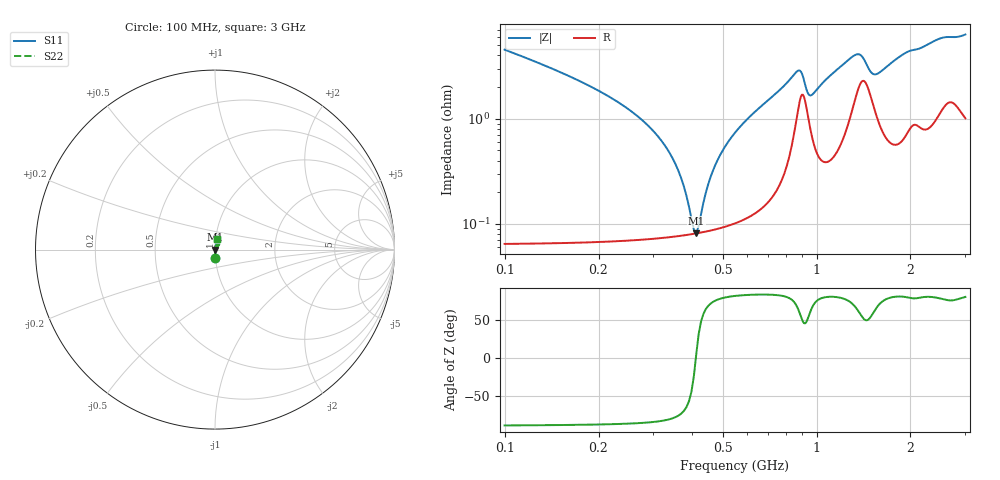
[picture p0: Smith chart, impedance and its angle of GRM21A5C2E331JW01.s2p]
!Murata Part Number: GRM21A5C2E331JW01
!These Parameters are Measured in Series Mode Connection
!Data Generated on Mar 30, 2021
!  o--ll--o
!Port1  Port2
!  o------o
!Operation Temp=25[degC], DC Bias Voltage=0[V]
!Freq. Start=100[MHz] Stop=3[GHz] 401[Steps]
# Hz S RI R 50
!Freq.(Hz) S11(Real) S11(Imag) S21(Real) S21(Imag) S12(Real) S12(Imag) S22(Real) S22(Imag)
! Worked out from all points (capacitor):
!   401 points, 100 MHz to 3 GHz, reference 50 ohm
!   read as one part in series: C = 329 pF near 114.5 MHz
!   lowest |Z| = 81.5 mohm at 411.8 MHz (marker M1)
!   series resonance near 410.3 MHz, so ESL is about 460 pH
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1e8  0.0027 -0.0453  0.9973 0.0453  0.9973 0.0453  0.0027 -0.0453
2.595e8  0.000824 -0.0112  0.9992 0.0112  0.9992 0.0112  0.000824 -0.0112
3.175e8  0.00077 -0.00618  0.9992 0.00618  0.9992 0.00618  0.00077 -0.00618
3.5375e8  0.000771 -0.00356  0.9992 0.00356  0.9992 0.00356  0.000771 -0.00356
3.755e8  0.00078 -0.00213  0.9992 0.00213  0.9992 0.00213  0.00078 -0.00213
3.9725e8  0.000796 -0.000779  0.9992 0.000779  0.9992 0.000779  0.000796 -0.000779
4.1175e8  0.00081 8.49e-05  0.9992 -8.49e-05  0.9992 -8.49e-05  0.00081 8.49e-05
4.2625e8  0.000826 0.000923  0.9992 -0.000923  0.9992 -0.000923  0.000826 0.000923
4.5525e8  0.000866 0.00253  0.9991 -0.00253  0.9991 -0.00253  0.000866 0.00253
4.8425e8  0.000915 0.00407  0.9991 -0.00407  0.9991 -0.00407  0.000915 0.00407
5.2775e8  0.00101 0.00629  0.999 -0.00629  0.999 -0.00629  0.00101 0.00629
5.8575e8  0.00118 0.00915  0.9988 -0.00915  0.9988 -0.00915  0.00118 0.00915
8.685e8  0.0118 0.0256  0.9882 -0.0256  0.9882 -0.0256  0.0118 0.0256
8.9025e8  0.0164 0.0224  0.9836 -0.0224  0.9836 -0.0224  0.0164 0.0224
9.3375e8  0.0116 0.0136  0.9884 -0.0136  0.9884 -0.0136  0.0116 0.0136
9.555e8  0.00809 0.0144  0.9919 -0.0144  0.9919 -0.0144  0.00809 0.0144
1.0715e9  0.00438 0.0231  0.9956 -0.0231  0.9956 -0.0231  0.00438 0.0231
1.347e9  0.0185 0.0358  0.9815 -0.0358  0.9815 -0.0358  0.0185 0.0358
1.55e9  0.0115 0.0235  0.9885 -0.0235  0.9885 -0.0235  0.0115 0.0235
2.03575e9  0.0105 0.0434  0.9895 -0.0434  0.9895 -0.0434  0.0105 0.0434
2.5215e9  0.0151 0.056  0.9849 -0.056  0.9849 -0.056  0.0151 0.056
3e9  0.0138 0.0611  0.9862 -0.0611  0.9862 -0.0611  0.0138 0.0611
